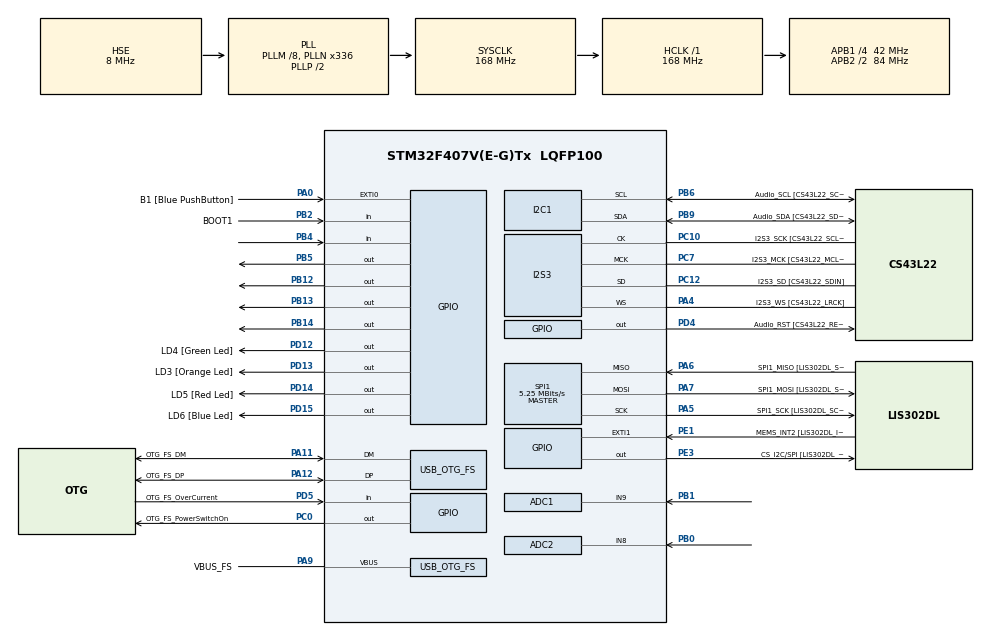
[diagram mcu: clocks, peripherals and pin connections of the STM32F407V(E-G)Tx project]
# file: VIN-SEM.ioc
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PA11.GPIO_Speed=GPIO_SPEED_FREQ_LOW
PD12.GPIO_Label=LD4 [Green Led]
PH0-OSC_IN.Signal=RCC_OSC_IN
PC10.GPIO_PuPd=GPIO_NOPULL
SPI1.VirtualType=VM_MASTER
PB10.GPIO_PuPd=GPIO_NOPULL
PA10.GPIO_PuPd=GPIO_NOPULL
PC12.Signal=I2S3_SD
PA14.GPIO_Label=SWCLK
PB6.GPIO_Label=Audio_SCL [CS43L22_SCL]
PA6.GPIO_Label=SPI1_MISO [LIS302DL_SDO]
PB13.Signal=GPIO_Output
PC15-OSC32_OUT.GPIO_Label=PC15-OSC32_OUT
PC3.GPIO_Speed=GPIO_SPEED_FREQ_LOW
RCC.SYSCLKSource=RCC_SYSCLKSOURCE_PLLCLK
PA6.GPIO_Mode=GPIO_MODE_AF_PP
PD14.GPIO_Speed=GPIO_SPEED_FREQ_LOW
PA4.Mode=Half_Duplex_Master
SPI1.Direction=SPI_DIRECTION_2LINES
I2S3.AudioFreq-Half_Duplex_Master=I2S_AUDIOFREQ_96K
PD4.Signal=GPIO_Output
RCC.APB2TimFreq_Value=168000000
PB6.Signal=I2C1_SCL
ADC1.Channel-2\#ChannelRegularConversion=ADC_CHANNEL_9
PC7.Signal=I2S3_MCK
PB6.Mode=I2C
SPI1.CalculateBaudRate=5.25 MBits/s
PC3.Signal=I2S2_SD
PE1.Signal=GPXTI1
PB2.Signal=GPIO_Input
I2S3.ErrorAudioFreq=-2.34 %
PA5.GPIO_PuPd=GPIO_NOPULL
I2S3.ErrorAudioFreq-Half_Duplex_Master=0.8 %
SH.ADCx_IN8.0=ADC2_IN8,IN8
PD5.GPIO_Mode=GPIO_MODE_INPUT
PD14.GPIO_PuPd=GPIO_NOPULL
PB2.GPIO_PuPd=GPIO_NOPULL
SPI1.CalculateBaudRate-Full_Duplex_Master=42.0 MBits/s
Mcu.Package=LQFP100
PB9.Signal=I2C1_SDA
PB1.Signal=ADCx_IN9
PD12.Signal=GPIO_Output
PB9.GPIO_PuPd=GPIO_NOPULL
PA10.Signal=USB_OTG_FS_ID
SH.ADCx_IN9.0=ADC1_IN9,IN9
RCC.APB2CLKDivider=RCC_HCLK_DIV2
RCC.APB1TimFreq_Value=84000000
PC12.GPIO_PuPd=GPIO_NOPULL
PA6.GPIO_Speed=GPIO_SPEED_FREQ_LOW
PA12.GPIO_PuPd=GPIO_NOPULL
PA4.GPIO_Label=I2S3_WS [CS43L22_LRCK]
PD15.Signal=GPIO_Output
PC0.PinState=GPIO_PIN_SET
PA5.Mode=Full_Duplex_Master
I2S3.FullDuplexMode=I2S_FULLDUPLEXMODE_DISABLE
PA9.GPIO_Label=VBUS_FS
PB6.GPIO_PuPd=GPIO_NOPULL
PA11.GPIO_Label=OTG_FS_DM
PE1.GPIO_PuPd=GPIO_NOPULL
PC0.Signal=GPIO_Output
RCC.APB1CLKDivider=RCC_HCLK_DIV4
PC14-OSC32_IN.Signal=RCC_OSC32_IN
PA0-WKUP.GPIO_ModeDefaultEXTI=GPIO_MODE_EVT_RISING
PA0-WKUP.GPIO_Label=B1 [Blue PushButton]
PA0-WKUP.Signal=GPXTI0
PC10.GPIO_Mode=GPIO_MODE_AF_PP
PB10.GPIO_Mode=GPIO_MODE_AF_PP
PA9.Signal=USB_OTG_FS_VBUS
I2S3.VirtualMode=I2S_MODE_MASTER
PC7.GPIO_PuPd=GPIO_NOPULL
PB10.Signal=I2S2_CK
PB14.Signal=GPIO_Output
PA5.Signal=SPI1_SCK
PC12.Mode=Half_Duplex_Master
PE1.GPIO_Label=MEMS_INT2 [LIS302DL_INT2]
PA7.GPIO_Speed=GPIO_SPEED_FREQ_LOW
PB2.GPIO_Mode=GPIO_MODE_INPUT
SPI1.Mode=SPI_MODE_MASTER
PD4.GPIO_Speed=GPIO_SPEED_FREQ_LOW
PE3.GPIO_PuPd=GPIO_NOPULL
PH1-OSC_OUT.GPIO_Label=PH1-OSC_OUT
PA13.Mode=Serial_Wire
ADC2.Resolution=ADC_RESOLUTION_10B
PC7.GPIO_Label=I2S3_MCK [CS43L22_MCLK]
PA4.Signal=I2S3_WS
PC12.GPIO_Mode=GPIO_MODE_AF_PP
PB5.Signal=GPIO_Output
ADC1.master=1
PA5.GPIO_Label=SPI1_SCK [LIS302DL_SCL/SPC]
ADC2.NbrOfConversionFlag=1
PE3.GPIO_Speed=GPIO_SPEED_FREQ_LOW
PC12.GPIO_Label=I2S3_SD [CS43L22_SDIN]
PA11.Signal=USB_OTG_FS_DM
ProjectManager.HeapSize=0x200
NVIC.PriorityGroup=NVIC_PRIORITYGROUP_0
PE3.Signal=GPIO_Output
PC3.GPIO_Label=PDM_OUT [MP45DT02_DOUT]
PA0-WKUP.GPIO_PuPd=GPIO_NOPULL
I2S3.Instance=SPI$Index
PB6.GPIO_Speed=GPIO_SPEED_FREQ_LOW
PB0.Signal=ADCx_IN8
SPI1.BaudRatePrescaler-Full_Duplex_Master=SPI_BAUDRATEPRESCALER_2
Mcu.Family=STM32F4
PC3.GPIO_Mode=GPIO_MODE_AF_PP
PA6.Mode=Full_Duplex_Master
USB_DEVICE.CLASS_NAME_FS=CDC
RCC.CortexFreq_Value=168000000
PB10.GPIO_Speed=GPIO_SPEED_FREQ_LOW
PB6.GPIO_Mode=GPIO_MODE_AF_OD
ADC1.ContinuousConvMode=DISABLE
ADC2.Channel-0\#ChannelRegularConversion=ADC_CHANNEL_8
PD15.GPIO_Speed=GPIO_SPEED_FREQ_LOW
PC10.Signal=I2S3_CK
PA7.GPIO_Mode=GPIO_MODE_AF_PP
PC0.GPIO_Label=OTG_FS_PowerSwitchOn
PA11.Mode=Device_Only
USB_DEVICE.VirtualMode-CDC_FS=Cdc
PC10.GPIO_Speed=GPIO_SPEED_FREQ_LOW
PA11.GPIO_PuPd=GPIO_NOPULL
ProjectManager.StackSize=0x400
SPI1.Mode-Full_Duplex_Master=SPI_MODE_MASTER
PD13.Signal=GPIO_Output
PA12.Signal=USB_OTG_FS_DP
RCC.HCLKFreq_Value=168000000
ADC1.Resolution=ADC_RESOLUTION_10B
RCC.AHBFreq_Value=168000000
PH0-OSC_IN.Mode=HSE-External-Oscillator
PH0-OSC_IN.GPIO_Label=PH0-OSC_IN
PA9.GPIO_Mode=GPIO_MODE_INPUT
RCC.HSE_VALUE=8000000
PA4.GPIO_PuPd=GPIO_NOPULL
PA4.GPIO_Speed=GPIO_SPEED_FREQ_LOW
PA6.GPIO_PuPd=GPIO_NOPULL
ADC1.Rank-2\#ChannelRegularConversion=1
PC14-OSC32_IN.Mode=LSE-External-Oscillator
PA14.Mode=Serial_Wire
PA10.GPIO_Label=OTG_FS_ID
PC7.GPIO_Mode=GPIO_MODE_AF_PP
PH1-OSC_OUT.Mode=HSE-External-Oscillator
PD13.GPIO_Label=LD3 [Orange Led]
PA6.Signal=SPI1_MISO
PD5.GPIO_Label=OTG_FS_OverCurrent
NVIC.OTG_FS_IRQn=true\:0\:0\:false\:false\:true\:true\:true
PD15.GPIO_PuPd=GPIO_NOPULL
USB_OTG_FS.VirtualMode=Device_Only
ADC2.SamplingTime-0\#ChannelRegularConversion=ADC_SAMPLETIME_3CYCLES
PA10.GPIO_Speed=GPIO_SPEED_FREQ_LOW
PB9.GPIO_Speed=GPIO_SPEED_FREQ_LOW
PC14-OSC32_IN.GPIO_Label=PC14-OSC32_IN
ADC2.Rank-0\#ChannelRegularConversion=1
PC0.GPIO_PuPd=GPIO_NOPULL
SPI1.BaudRatePrescaler=SPI_BAUDRATEPRESCALER_16
PA12.GPIO_Speed=GPIO_SPEED_FREQ_LOW
PB4.Signal=GPIO_Input
PB3.GPIO_Label=SWO
PC15-OSC32_OUT.Mode=LSE-External-Oscillator
PD12.GPIO_Speed=GPIO_SPEED_FREQ_LOW
PD15.GPIO_Label=LD6 [Blue Led]
PA7.Mode=Full_Duplex_Master
PB9.GPIO_Label=Audio_SDA [CS43L22_SDA]
PC10.GPIO_Label=I2S3_SCK [CS43L22_SCLK]
USB_DEVICE.VirtualModeFS=Cdc_FS
PC10.Mode=Half_Duplex_Master
PD5.Signal=GPIO_Input
PE1.GPIO_ModeDefaultEXTI=GPIO_MODE_EVT_RISING
PA9.GPIO_PuPd=GPIO_NOPULL
PA12.GPIO_Label=OTG_FS_DP
ADC1.SamplingTime-2\#ChannelRegularConversion=ADC_SAMPLETIME_3CYCLES
PA10.GPIO_Mode=GPIO_MODE_AF_PP
PA13.Signal=SYS_JTMS-SWDIO
PD4.GPIO_PuPd=GPIO_NOPULL
PA9.Mode=Activate_VBUS
PC0.GPIO_Speed=GPIO_SPEED_FREQ_LOW
I2S3.RealAudioFreq-Half_Duplex_Master=96.774 KHz
ProjectManager.TargetToolchain=STM32CubeIDE
PB10.GPIO_Label=CLK_IN [MP45DT02_CLK]
VP_USB_DEVICE_VS_USB_DEVICE_CDC_FS.Mode=CDC_FS
PB9.Mode=I2C
PC15-OSC32_OUT.Signal=RCC_OSC32_OUT
PA7.GPIO_PuPd=GPIO_NOPULL
board=STM32F407G-DISC1
PD13.GPIO_Speed=GPIO_SPEED_FREQ_LOW
PC7.GPIO_Speed=GPIO_SPEED_FREQ_LOW
RCC.VCOOutputFreq_Value=336000000
PB9.GPIO_Mode=GPIO_MODE_AF_OD
PA12.GPIO_Mode=GPIO_MODE_AF_PP
PA4.GPIO_Mode=GPIO_MODE_AF_PP
RCC.APB2Freq_Value=84000000
PD4.GPIO_Label=Audio_RST [CS43L22_RESET]
PH1-OSC_OUT.Signal=RCC_OSC_OUT
PD13.GPIO_PuPd=GPIO_NOPULL
PD5.GPIO_PuPd=GPIO_NOPULL
PD14.GPIO_Label=LD5 [Red Led]
ADC1.NbrOfConversion=1
Mcu.Name=STM32F407V(E-G)Tx
PA13.GPIO_Label=SWDIO
PD14.Signal=GPIO_Output
RCC.48MHZClocksFreq_Value=48000000
PB3.Signal=SYS_JTDO-SWO
RCC.SYSCLKFreq_VALUE=168000000
PA7.GPIO_Label=SPI1_MOSI [LIS302DL_SDA/SDI/SDO]
PA12.Mode=Device_Only
PA14.Signal=SYS_JTCK-SWCLK
PB2.GPIO_Label=BOOT1
RCC.HSI_VALUE=16000000
PA5.GPIO_Speed=GPIO_SPEED_FREQ_LOW
RCC.PLLQ=7
ADC1.NbrOfConversionFlag=1
I2S3.RealAudioFreq=93.75 KHz
RCC.PLLM=8
RCC.PLLN=336
PE3.GPIO_Label=CS_I2C/SPI [LIS302DL_CS_I2C/SPI]
PC7.Mode=Master_Clock_Activated
PA11.GPIO_Mode=GPIO_MODE_AF_PP
RCC.APB1Freq_Value=42000000
PA5.GPIO_Mode=GPIO_MODE_AF_PP
PC12.GPIO_Speed=GPIO_SPEED_FREQ_LOW
ADC1.ClockPrescaler=ADC_CLOCK_SYNC_PCLK_DIV4
PB12.Signal=GPIO_Output
PC3.GPIO_PuPd=GPIO_NOPULL
PD12.GPIO_PuPd=GPIO_NOPULL
PA7.Signal=SPI1_MOSI

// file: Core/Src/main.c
/* USER CODE BEGIN Header */
/**
  ******************************************************************************
  * @file           : main.c
  * @brief          : Main program body
  ******************************************************************************
  * @attention
  *
  * <h2><center>&copy; Copyright (c) 2021 STMicroelectronics.
  * All rights reserved.</center></h2>
  *
  * This software component is licensed by ST under Ultimate Liberty license
  * SLA0044, the "License"; You may not use this file except in compliance with
  * the License. You may obtain a copy of the License at:
  *                             www.st.com/SLA0044
  *
  ******************************************************************************
  */
/* USER CODE END Header */
#include "main.h"
#include "usb_device.h"

/* USER CODE BEGIN Includes */
#include <string.h>
#include <stdarg.h>
#include<time.h>
#include <math.h>
#include "ssd1351.h"
#include "fonts.h"
#include "testimg.h"
#include "snake_icon.h"
#include "pong_icon.h"
#include "queue.h"
/* USER CODE END Includes */

ADC_HandleTypeDef hadc1;
ADC_HandleTypeDef hadc2;

I2C_HandleTypeDef hi2c1;

I2S_HandleTypeDef hi2s3;

SPI_HandleTypeDef hspi1;

/* USER CODE BEGIN PV */

#define BUFSIZE 256
char send_buffer[BUFSIZE];
int counter;
int key_state = 0;

uint32_t prev = 0;
uint32_t current = 0;

// joystick settings
#define JS_MIN 0
#define JS_MAX 1023
#define JS_ZERO ((JS_MAX - JS_MIN) / 2)
#define JS_TOLERANCE 20

// view breakdown
#define HEADER_BOTTOM 16
#define FOOTER_TOP (127 - 16)

enum View{
	MENU,
	SNAKE,
	PONG
} curr_view;

// menu
#define ICON_WIDTH 32
#define ICON_HEIGHT 32
#define ICON_PADDING 8

int selected_icon_index = 0;

// snake
#define SN_UNIT 4
#define SN_ROOM_SIZE (128 / SN_UNIT)
#define SN_MIN_X 1
#define SN_MAX_X (SN_ROOM_SIZE - 2)
#define SN_MIN_Y ((HEADER_BOTTOM / SN_UNIT) + 1)
#define SN_MAX_Y ((FOOTER_TOP / SN_UNIT) - 1)
struct Queue* snake_body;

int snake_x = 0;
int snake_y = 0;
int direction = 1; // [0-3]

int fruit_x = 0;
int fruit_y = 0;

// pong
#define PG_UNIT 4
#define PG_ROOM_SIZE (128 / PG_UNIT)
#define PG_PADDLE_OFFSET 1
#define PG_PADDLE_LENGTH 5
#define PG_MIN_X 1
#define PG_MAX_X (PG_ROOM_SIZE - 2)
#define PG_MIN_Y ((HEADER_BOTTOM / PG_UNIT) + 1)
#define PG_MAX_Y ((FOOTER_TOP / PG_UNIT) - 1)

#define PG_SPEED 1

struct Ball {
	int x, y;
	float direction;
};
struct Ball* pg_ball;
int pg_paddle_player = 0;
int pg_paddle_bot = 0;
int pg_score = 0;

// TODO refactor joystick handler

/* USER CODE END PV */

void SystemClock_Config(void);
static void MX_GPIO_Init(void);
static void MX_I2C1_Init(void);
static void MX_I2S3_Init(void);
static void MX_SPI1_Init(void);
static void MX_ADC1_Init(void);
static void MX_ADC2_Init(void);
/* USER CODE BEGIN PFP */
static uint32_t readAnalog(void);
static uint32_t readAnalog2(void);
/* USER CODE END PFP */

/* USER CODE BEGIN 0 */
void init() {
    logSerial("Welcome to Gamelad v0.1!\r\n");
    SSD1351_Unselect();
    SSD1351_Init();
    SSD1351_FillScreen(SSD1351_BLACK);

    HAL_Delay(100);

    curr_view = MENU;

    initStartup();

    HAL_Delay(100);

    initHeader();

    HAL_Delay(100);

    logSerial("Init started!\r\n");

    switch(curr_view) {
    case MENU:
    	initMenu();
        logSerial("Init menu done\r\n");
    	break;
    case SNAKE:
    	initSnake();
        logSerial("Init snake done\r\n");
    	break;
    case PONG:
    	initPong();
        logSerial("Init pong done\r\n");
    	break;
    	snprintf(send_buffer, BUFSIZE, "Invalid view on init: %d\r\n", curr_view);
    	logSerial(send_buffer);
    }

    HAL_Delay(100);

    logSerial("Init done! :)\r\n");
}

void initStartup() { // TODO make pretty
    logSerial("Startup started!\r\n");
	SSD1351_WriteString(0, 0, "Gamelad v0.1", Font_16x26, SSD1351_COLOR565(255, 127, 0), SSD1351_BLACK);

    HAL_Delay(3000);

    SSD1351_FillScreen(SSD1351_BLACK);

    strokeRect(0, HEADER_BOTTOM, 127, FOOTER_TOP - HEADER_BOTTOM, SSD1351_WHITE);

    logSerial("Startup done!\r\n");
}

void initHeader() {
    SSD1351_WriteString(0, 0, "Gamelad v0.1", Font_7x10, SSD1351_COLOR565(255, 127, 0), SSD1351_BLACK);
}

void initMenu() { // TODO implement to allow break into two / three rows
	SSD1351_FillRectangle(1, HEADER_BOTTOM + 1, 127 - 2, FOOTER_TOP - HEADER_BOTTOM - 2, SSD1351_BLACK);

	SSD1351_FillRectangle(0, FOOTER_TOP, 127, 127, SSD1351_BLACK);

	SSD1351_DrawImage(ICON_PADDING, HEADER_BOTTOM + ICON_PADDING, 32, 32, (const uint16_t*)snake_icon);
	SSD1351_DrawImage(2 * ICON_PADDING + ICON_WIDTH, HEADER_BOTTOM + ICON_PADDING, 32, 32, (const uint16_t*)pong_icon);

	for(int i = 0; i < 6; i++) {
		int x = ((i % 3) + 1) * ICON_PADDING + (i % 3) * ICON_WIDTH;
		int y = ((i / 3) + 1 + (i / 3 > 0 ? 1 : 0)) * ICON_PADDING + (i / 3) * ICON_HEIGHT + HEADER_BOTTOM;
		strokeRect(x, y, ICON_WIDTH, ICON_HEIGHT, SSD1351_RED);
		if (selected_icon_index == i) {
			SSD1351_FillRectangle(x - 1, y - 1, ICON_WIDTH + 2, 2, SSD1351_BLUE);
			SSD1351_FillRectangle(x - 1, y + ICON_HEIGHT - 1, ICON_WIDTH + 2, 2, SSD1351_BLUE);

			SSD1351_FillRectangle(x - 1, y + 1, 2, ICON_HEIGHT, SSD1351_BLUE);
			SSD1351_FillRectangle(x + ICON_WIDTH - 1, y + 1, 2, ICON_HEIGHT, SSD1351_BLUE);
		}
	}

	char *name;
	switch(selected_icon_index) {
	case 0:
		name = "Snake";
		break;
	case 1:
		name = "Pong";
		break;
	default:
		name = "_";
	}

	snprintf(send_buffer, BUFSIZE, "Select game: %s", name);
    SSD1351_WriteString(0, FOOTER_TOP + 4, send_buffer, Font_7x10, SSD1351_WHITE, SSD1351_BLACK);
}

void initSnake() {
	SSD1351_FillRectangle(1, HEADER_BOTTOM + 1, 127 - 2, FOOTER_TOP - HEADER_BOTTOM - 2, SSD1351_BLACK);

	SSD1351_FillRectangle(0, FOOTER_TOP, 127, 127, SSD1351_BLACK);

	snake_x = 10;
	snake_y = 10;

	snake_body = createQueue(SN_ROOM_SIZE * SN_ROOM_SIZE);
	enqueue(snake_body, snake_x * SN_ROOM_SIZE + snake_y);

	renderBox(snake_x, snake_y, SSD1351_WHITE);

	fruit_x = rand() % SN_ROOM_SIZE;
	fruit_y = rand() % SN_ROOM_SIZE;

	renderBox(fruit_x, fruit_y, SSD1351_RED);

	snprintf(send_buffer, BUFSIZE, "Score: %d", size(snake_body));
    SSD1351_WriteString(0, FOOTER_TOP + 4, send_buffer, Font_7x10, SSD1351_WHITE, SSD1351_BLACK);
}

void initPong() {
	SSD1351_FillRectangle(1, HEADER_BOTTOM + 1, 127 - 2, FOOTER_TOP - HEADER_BOTTOM - 2, SSD1351_BLACK);

	SSD1351_FillRectangle(0, FOOTER_TOP, 127, 127, SSD1351_BLACK);

	pg_ball = (struct Ball*) malloc(sizeof(struct Ball));

	pg_ball->x = 10 * PG_UNIT;
	pg_ball->y = 10 * PG_UNIT;
	pg_ball->direction = 2 * M_PI / 3;

	pg_score = 0;

    SSD1351_WriteString(0, FOOTER_TOP + 4, "Score:", Font_7x10, SSD1351_WHITE, SSD1351_BLACK);
}

void strokeRect(uint16_t x, uint16_t y, uint16_t w, uint16_t h, uint16_t color) {
	for(int cx = x; cx < x + w; cx++) {
        SSD1351_DrawPixel(cx, y, color);
        SSD1351_DrawPixel(cx, y + h - 1, color);
    }

    for(int cy = y; cy < y + h; cy++) {
        SSD1351_DrawPixel(x, cy, color);
        SSD1351_DrawPixel(x + w - 1, cy, color);
    }
}

void logSerial(const char* message) {
	snprintf(send_buffer, BUFSIZE, message);
	CDC_Transmit_FS(send_buffer, strlen(send_buffer));
}

void loop() {
  switch(curr_view) {
  case MENU:
	menuLoop();
	break;
  case SNAKE:
	snakeLoop();
	break;
  case PONG:
	pongLoop();
	break;
	// TODO default handler - log error
  }
}

void snakeLoop() {
	uint32_t analogValue = readAnalog();
	uint32_t analogValue2 = readAnalog2();

	if (analogValue < JS_ZERO - JS_TOLERANCE && direction != 1)
	{
	  direction = 3;
	} else if (analogValue > JS_ZERO + JS_TOLERANCE && direction != 3)
	{
	  direction = 1;
	} else if (analogValue2 > JS_ZERO + JS_TOLERANCE && direction != 2)
	{
	  direction = 0;
	} else if (analogValue2 < JS_ZERO - JS_TOLERANCE && direction != 0)
	{
	  direction = 2;
	}

	if (direction == 0) {
	  snake_y -= 1;
	  if (snake_y < SN_MIN_Y) {
		  snake_y = SN_MAX_Y;
	  }
	} else if (direction == 1) {
	  snake_x += 1;
	  if (snake_x > SN_MAX_X) {
		  snake_x = SN_MIN_X;
	  }
	} else if (direction == 2) {
	  snake_y += 1;
	  if (snake_y > SN_MAX_Y) {
		  snake_y = SN_MIN_Y;
	  }
	} else if (direction == 3) {
	  snake_x -= 1;
	  if (snake_x < SN_MIN_X) {
		  snake_x = SN_MAX_X;
	  }
	}

	enqueue(snake_body, snake_x * SN_ROOM_SIZE + snake_y);

	renderBox(snake_x, snake_y, SSD1351_WHITE);

	if (snake_x == fruit_x && snake_y == fruit_y) {
	  fruit_x = rand() % (SN_MAX_X - SN_MIN_X) + SN_MIN_X;
	  fruit_y = rand() % (SN_MAX_Y - SN_MIN_Y) + SN_MIN_Y;

	  renderBox(fruit_x, fruit_y, SSD1351_RED);
	} else {
	  int idx = dequeue(snake_body);
	  int cx = idx / SN_ROOM_SIZE;
	  int cy = idx % SN_ROOM_SIZE;

	  renderBox(cx, cy, SSD1351_BLACK);
	}

	int hit_self = 0;
	int* snake_parts = elements(snake_body);
	for (int i = 0; i < size(snake_body) - 1; i++) {
		  int x = snake_parts[i] / SN_ROOM_SIZE;
		  int y = snake_parts[i] % SN_ROOM_SIZE;
		  if (snake_x == x && snake_y == y) {
			  hit_self = 1;
			  break;
		  }
	}

	if (hit_self == 1) {
		initSnake();
		// RESET SNAKE AND SCORE !!!!
	}

	snprintf(send_buffer, BUFSIZE, "Score: %d", size(snake_body));
	SSD1351_WriteString(0, FOOTER_TOP + 4, send_buffer, Font_7x10, SSD1351_WHITE, SSD1351_BLACK);
}

void pongLoop() {

	SSD1351_FillRectangle(pg_ball->x, pg_ball->y, PG_UNIT, PG_UNIT, SSD1351_BLACK);

	SSD1351_FillRectangle((PG_MIN_X + PG_PADDLE_OFFSET) * PG_UNIT, (pg_paddle_player + PG_MIN_Y) * PG_UNIT, PG_UNIT, PG_PADDLE_LENGTH * PG_UNIT, SSD1351_BLACK);
	SSD1351_FillRectangle((PG_MAX_X - PG_PADDLE_OFFSET) * PG_UNIT, (pg_paddle_bot + PG_MIN_Y) * PG_UNIT, PG_UNIT, PG_PADDLE_LENGTH * PG_UNIT, SSD1351_BLACK);

	int direction = 0;
	uint32_t analogValue2 = readAnalog2();
	if (analogValue2 > JS_ZERO + JS_TOLERANCE)
	{
	  direction = -1;
	} else if (analogValue2 < JS_ZERO - JS_TOLERANCE)
	{
	  direction = 1;
	}

	if ((direction < 0 && pg_paddle_player > 0) || (direction > 0 && pg_paddle_player < PG_MAX_Y - PG_MIN_Y - PG_PADDLE_LENGTH + 1)) {
		pg_paddle_player += direction;
	}

	pg_ball->x = pg_ball->x + (PG_SPEED * PG_UNIT) * cos(pg_ball->direction);
	pg_ball->y = pg_ball->y + (PG_SPEED * PG_UNIT) * sin(pg_ball->direction);

	if (pg_ball->y >= PG_MAX_Y * PG_UNIT) {
		pg_ball->direction *= -1;
		pg_ball->y--;
	} else if (pg_ball->y <= 17) {
		pg_ball->direction *= -1;
		pg_ball->y++;
	}

	int bot_diff = pg_ball->y - ((pg_paddle_bot + PG_MIN_Y + PG_PADDLE_LENGTH / 2) * PG_UNIT);

	int bot_direction = bot_diff / abs(bot_diff);

	if ((bot_direction < 0 && pg_paddle_bot > 0) || (bot_direction > 0 && pg_paddle_bot < PG_MAX_Y - PG_MIN_Y - PG_PADDLE_LENGTH + 1)) {
		pg_paddle_bot += bot_direction;
	}

	int state = 0; // 0 - game, -1 - bot won, 1 - player won

	if ((pg_ball->x <= (PG_MIN_X + PG_PADDLE_OFFSET + 2) * PG_UNIT) && (pg_ball->x <= (PG_MIN_X + PG_PADDLE_OFFSET + 1) * PG_UNIT)) {
		if ((pg_ball->y >= (pg_paddle_player + PG_MIN_Y) * PG_UNIT) && (pg_ball->y <= (pg_paddle_player + PG_MIN_Y + PG_PADDLE_LENGTH) * PG_UNIT)) {
			pg_ball->direction -= M_PI_2;
			pg_ball->x+= PG_UNIT;
		} else {
			state = -1;
		}
	} else if ((pg_ball->x >= (PG_MAX_X - PG_PADDLE_OFFSET - 2) * PG_UNIT) && (pg_ball->x >= (PG_MAX_X - PG_PADDLE_OFFSET - 1) * PG_UNIT)) {
		if ((pg_ball->y >= (pg_paddle_bot + PG_MIN_Y) * PG_UNIT) && (pg_ball->y <= (pg_paddle_bot + PG_MIN_Y + PG_PADDLE_LENGTH) * PG_UNIT)) {
			pg_ball->direction -= M_PI_2;
			pg_ball->x-= PG_UNIT;
		} else {
			state = 1;
		}
	}

	SSD1351_FillRectangle(pg_ball->x, pg_ball->y, PG_UNIT, PG_UNIT, SSD1351_WHITE);

	SSD1351_FillRectangle((PG_MIN_X + PG_PADDLE_OFFSET) * PG_UNIT, (pg_paddle_player + PG_MIN_Y) * PG_UNIT, PG_UNIT, PG_PADDLE_LENGTH * PG_UNIT, SSD1351_WHITE);
	SSD1351_FillRectangle((PG_MAX_X - PG_PADDLE_OFFSET) * PG_UNIT, (pg_paddle_bot + PG_MIN_Y) * PG_UNIT, PG_UNIT, PG_PADDLE_LENGTH * PG_UNIT, SSD1351_WHITE);

	if (state != 0) {
		pg_score += state;

		SSD1351_FillRectangle(pg_ball->x, pg_ball->y, PG_UNIT, PG_UNIT, SSD1351_BLACK);

		pg_ball->x = 10 * PG_UNIT;
		pg_ball->y = 10 * PG_UNIT;
		pg_ball->direction = 2 * M_PI / 3;
	}

	snprintf(send_buffer, BUFSIZE, "Score: %3d", pg_score);
	SSD1351_WriteString(0, FOOTER_TOP + 4, send_buffer, Font_7x10, SSD1351_WHITE, SSD1351_BLACK);
}

void menuLoop() {
	uint32_t analogValue = readAnalog();
	uint32_t analogValue2 = readAnalog2();

	int prev_selected_icon_index = selected_icon_index;
	int diff1 = abs(analogValue - JS_ZERO);
	int diff2 = abs(analogValue2 - JS_ZERO);
	if (diff1 > diff2) {
		if (analogValue < JS_ZERO - JS_TOLERANCE && (selected_icon_index % 3) > 0)
		{
			selected_icon_index--;
		} else if (analogValue > JS_ZERO + JS_TOLERANCE && (selected_icon_index % 3) < 2)
		{
			selected_icon_index++;
		}
	}
	if (prev_selected_icon_index == selected_icon_index) {
		if (analogValue2 > JS_ZERO + JS_TOLERANCE && (selected_icon_index / 3) > 0)
		{
			selected_icon_index -= 3;
		} else if (analogValue2 < JS_ZERO - JS_TOLERANCE && (selected_icon_index / 3) < 1)
		{
			selected_icon_index += 3;
		}
	}

	snprintf(send_buffer, BUFSIZE, "Icon index: %d -> %d \r\n", prev_selected_icon_index, selected_icon_index);
	logSerial(send_buffer);

	if(prev_selected_icon_index != selected_icon_index) {
		logSerial("Updating menu");
		// deselect prev
		int x = ((prev_selected_icon_index % 3) + 1) * ICON_PADDING + (prev_selected_icon_index % 3) * ICON_WIDTH;
		int y = ((prev_selected_icon_index / 3) + 1 + (prev_selected_icon_index / 3 > 0 ? 1 : 0)) * ICON_PADDING + (prev_selected_icon_index / 3) * ICON_HEIGHT + HEADER_BOTTOM;
		SSD1351_FillRectangle(x - 1, y - 1, ICON_WIDTH + 2, 2, SSD1351_BLACK);
		SSD1351_FillRectangle(x - 1, y + ICON_HEIGHT - 1, ICON_WIDTH + 2, 2, SSD1351_BLACK);

		SSD1351_FillRectangle(x - 1, y + 1, 2, ICON_HEIGHT, SSD1351_BLACK);
		SSD1351_FillRectangle(x + ICON_WIDTH - 1, y + 1, 2, ICON_HEIGHT, SSD1351_BLACK);

		strokeRect(x, y, ICON_WIDTH, ICON_HEIGHT, SSD1351_RED);

		// select curr
		x = ((selected_icon_index % 3) + 1) * ICON_PADDING + (selected_icon_index % 3) * ICON_WIDTH;
		y = ((selected_icon_index / 3) + 1 + (selected_icon_index / 3 > 0 ? 1 : 0)) * ICON_PADDING + (selected_icon_index / 3) * ICON_HEIGHT + HEADER_BOTTOM;
		SSD1351_FillRectangle(x - 1, y - 1, ICON_WIDTH + 2, 2, SSD1351_BLUE);
		SSD1351_FillRectangle(x - 1, y + ICON_HEIGHT - 1, ICON_WIDTH + 2, 2, SSD1351_BLUE);

		SSD1351_FillRectangle(x - 1, y + 1, 2, ICON_HEIGHT, SSD1351_BLUE);
		SSD1351_FillRectangle(x + ICON_WIDTH - 1, y + 1, 2, ICON_HEIGHT, SSD1351_BLUE);

		char *name;
		switch(selected_icon_index) {
		case 0:
			name = "Snake";
			break;
		case 1:
			name = "Pong";
			break;
		default:
			name = "_";
		}

		SSD1351_FillRectangle(0, FOOTER_TOP, 127, 127, SSD1351_BLACK);
		snprintf(send_buffer, BUFSIZE, "Select game: %s", name);
	    SSD1351_WriteString(0, FOOTER_TOP + 4, send_buffer, Font_7x10, SSD1351_WHITE, SSD1351_BLACK);
	}
}

void render() {
	switch(curr_view) {
	case MENU:
		renderMenu();
		break;
	case SNAKE:
		renderSnake();
		break;
	case PONG:
		renderPong();
		break;
	// TODO default handler - log error
	}
}

void renderMenu() {
	SSD1351_FillRectangle(pg_ball->x, pg_ball->y, pg_ball->x + PG_UNIT, pg_ball->y + PG_UNIT, SSD1351_WHITE);
}

void renderBox(int x, int y, uint16_t color)
{
	for(int i = x * SN_UNIT; i < x * SN_UNIT + SN_UNIT; i++) {
		for(int j = y * SN_UNIT; j < y * SN_UNIT + SN_UNIT; j++) {
			SSD1351_DrawPixel(i, j, color);
		}
	}
}

void renderSnake()
{
    int body_size = size(snake_body);
    int* body_elements = elements(snake_body);
    for(int i = 0; i < body_size; i++)
    {
    	int idx = body_elements[i];
    	int cx = idx / SN_ROOM_SIZE;
    	int cy = idx % SN_ROOM_SIZE;
    	SSD1351_FillRectangle(cx, cy, cx + SN_UNIT, cy + SN_UNIT, SSD1351_WHITE);
    }

	SSD1351_FillRectangle(fruit_x, fruit_y, fruit_x + SN_UNIT, fruit_y + SN_UNIT, SSD1351_RED);

}

void renderPong()
{
}

/* USER CODE END 0 */

int main(void)
{

  /* MCU Configuration--------------------------------------------------------*/

  /* Reset of all peripherals, Initializes the Flash interface and the Systick. */
  HAL_Init();

  /* Configure the system clock */
  SystemClock_Config();

  /* Initialize all configured peripherals */
  MX_GPIO_Init();
  MX_I2C1_Init();
  MX_I2S3_Init();
  MX_SPI1_Init();
  MX_USB_DEVICE_Init();
  MX_ADC1_Init();
  MX_ADC2_Init();

  /* Infinite loop */
  /* USER CODE BEGIN WHILE */
  init();
  while (1)
  {
	  loop();

	  // render();

	  if(HAL_GPIO_ReadPin(GPIOB, GPIO_PIN_4) == GPIO_PIN_SET) {
		  switch (curr_view)  {
		  case MENU:
			  switch(selected_icon_index) {
			  case 0:
				  curr_view = SNAKE;
				  initSnake();
				  break;
			  case 1:
				  curr_view = PONG;
				  initPong();
				  break;
			  default:
				  snprintf(send_buffer, BUFSIZE, "Uncategorized option '%d'\r\n", selected_icon_index);
				  logSerial(send_buffer);
				  break;
			  }
			  break;
		  case SNAKE:
		  case PONG:
			  curr_view = MENU;
			  initMenu();
			  break;
		  default:
			  break;
		  }
	  }

	  //snprintf(send_buffer, BUFSIZE, "Analog %d. X: %d, Y: %d \r\n", analogValue, snake_x, snake_y);
	  //CDC_Transmit_FS(send_buffer, strlen(send_buffer));

	  HAL_GPIO_TogglePin(GPIOD, GPIO_PIN_12);
	  HAL_GPIO_TogglePin(GPIOD, GPIO_PIN_13);
	  HAL_GPIO_TogglePin(GPIOD, GPIO_PIN_14);
	  HAL_GPIO_TogglePin(GPIOD, GPIO_PIN_15);

	  HAL_GPIO_TogglePin(GPIOB, GPIO_PIN_5); // External LED on PB5

	  key_state = HAL_GPIO_ReadPin(GPIOB, GPIO_PIN_4); // External Key on PB4

	  snprintf(send_buffer, BUFSIZE, "Hello World [%d]: Key: %d \r\n", counter++, key_state);
	  CDC_Transmit_FS(send_buffer, strlen(send_buffer));

    /* USER CODE END WHILE */

    /* USER CODE BEGIN 3 */
	  HAL_Delay(100);
  }
  /* USER CODE END 3 */
}

void SystemClock_Config(void)
{
  RCC_OscInitTypeDef RCC_OscInitStruct = {0};
  RCC_ClkInitTypeDef RCC_ClkInitStruct = {0};
  RCC_PeriphCLKInitTypeDef PeriphClkInitStruct = {0};

  /** Configure the main internal regulator output voltage
  */
  __HAL_RCC_PWR_CLK_ENABLE();
  __HAL_PWR_VOLTAGESCALING_CONFIG(PWR_REGULATOR_VOLTAGE_SCALE1);
  /** Initializes the RCC Oscillators according to the specified parameters
  * in the RCC_OscInitTypeDef structure.
  */
  RCC_OscInitStruct.OscillatorType = RCC_OSCILLATORTYPE_HSE;
  RCC_OscInitStruct.HSEState = RCC_HSE_ON;
  RCC_OscInitStruct.PLL.PLLState = RCC_PLL_ON;
  RCC_OscInitStruct.PLL.PLLSource = RCC_PLLSOURCE_HSE;
  RCC_OscInitStruct.PLL.PLLM = 8;
  RCC_OscInitStruct.PLL.PLLN = 336;
  RCC_OscInitStruct.PLL.PLLP = RCC_PLLP_DIV2;
  RCC_OscInitStruct.PLL.PLLQ = 7;
  if (HAL_RCC_OscConfig(&RCC_OscInitStruct) != HAL_OK)
  {
    Error_Handler();
  }
  /** Initializes the CPU, AHB and APB buses clocks
  */
  RCC_ClkInitStruct.ClockType = RCC_CLOCKTYPE_HCLK|RCC_CLOCKTYPE_SYSCLK
                              |RCC_CLOCKTYPE_PCLK1|RCC_CLOCKTYPE_PCLK2;
  RCC_ClkInitStruct.SYSCLKSource = RCC_SYSCLKSOURCE_PLLCLK;
  RCC_ClkInitStruct.AHBCLKDivider = RCC_SYSCLK_DIV1;
  RCC_ClkInitStruct.APB1CLKDivider = RCC_HCLK_DIV4;
  RCC_ClkInitStruct.APB2CLKDivider = RCC_HCLK_DIV2;

  if (HAL_RCC_ClockConfig(&RCC_ClkInitStruct, FLASH_LATENCY_5) != HAL_OK)
  {
    Error_Handler();
  }
  PeriphClkInitStruct.PeriphClockSelection = RCC_PERIPHCLK_I2S;
  PeriphClkInitStruct.PLLI2S.PLLI2SN = 192;
  PeriphClkInitStruct.PLLI2S.PLLI2SR = 2;
  if (HAL_RCCEx_PeriphCLKConfig(&PeriphClkInitStruct) != HAL_OK)
  {
    Error_Handler();
  }
}

static void MX_ADC1_Init(void)
{

  ADC_ChannelConfTypeDef sConfig = {0};

  /** Configure the global features of the ADC (Clock, Resolution, Data Alignment and number of conversion)
  */
  hadc1.Instance = ADC1;
  hadc1.Init.ClockPrescaler = ADC_CLOCK_SYNC_PCLK_DIV4;
  hadc1.Init.Resolution = ADC_RESOLUTION_10B;
  hadc1.Init.ScanConvMode = DISABLE;
  hadc1.Init.ContinuousConvMode = DISABLE;
  hadc1.Init.DiscontinuousConvMode = DISABLE;
  hadc1.Init.ExternalTrigConvEdge = ADC_EXTERNALTRIGCONVEDGE_NONE;
  hadc1.Init.ExternalTrigConv = ADC_SOFTWARE_START;
  hadc1.Init.DataAlign = ADC_DATAALIGN_RIGHT;
  hadc1.Init.NbrOfConversion = 1;
  hadc1.Init.DMAContinuousRequests = DISABLE;
  hadc1.Init.EOCSelection = ADC_EOC_SINGLE_CONV;
  if (HAL_ADC_Init(&hadc1) != HAL_OK)
  {
    Error_Handler();
  }
  /** Configure for the selected ADC regular channel its corresponding rank in the sequencer and its sample time.
  */
  sConfig.Channel = ADC_CHANNEL_9;
  sConfig.Rank = 1;
  sConfig.SamplingTime = ADC_SAMPLETIME_3CYCLES;
  if (HAL_ADC_ConfigChannel(&hadc1, &sConfig) != HAL_OK)
  {
    Error_Handler();
  }

}

static void MX_ADC2_Init(void)
{

  ADC_ChannelConfTypeDef sConfig = {0};

  /** Configure the global features of the ADC (Clock, Resolution, Data Alignment and number of conversion)
  */
  hadc2.Instance = ADC2;
  hadc2.Init.ClockPrescaler = ADC_CLOCK_SYNC_PCLK_DIV4;
  hadc2.Init.Resolution = ADC_RESOLUTION_10B;
  hadc2.Init.ScanConvMode = DISABLE;
  hadc2.Init.ContinuousConvMode = DISABLE;
  hadc2.Init.DiscontinuousConvMode = DISABLE;
  hadc2.Init.ExternalTrigConvEdge = ADC_EXTERNALTRIGCONVEDGE_NONE;
  hadc2.Init.ExternalTrigConv = ADC_SOFTWARE_START;
  hadc2.Init.DataAlign = ADC_DATAALIGN_RIGHT;
  hadc2.Init.NbrOfConversion = 1;
  hadc2.Init.DMAContinuousRequests = DISABLE;
  hadc2.Init.EOCSelection = ADC_EOC_SINGLE_CONV;
  if (HAL_ADC_Init(&hadc2) != HAL_OK)
  {
    Error_Handler();
  }
  /** Configure for the selected ADC regular channel its corresponding rank in the sequencer and its sample time.
  */
  sConfig.Channel = ADC_CHANNEL_8;
  sConfig.Rank = 1;
  sConfig.SamplingTime = ADC_SAMPLETIME_3CYCLES;
  if (HAL_ADC_ConfigChannel(&hadc2, &sConfig) != HAL_OK)
  {
    Error_Handler();
  }

}

static void MX_I2C1_Init(void)
{

  hi2c1.Instance = I2C1;
  hi2c1.Init.ClockSpeed = 100000;
  hi2c1.Init.DutyCycle = I2C_DUTYCYCLE_2;
  hi2c1.Init.OwnAddress1 = 0;
  hi2c1.Init.AddressingMode = I2C_ADDRESSINGMODE_7BIT;
  hi2c1.Init.DualAddressMode = I2C_DUALADDRESS_DISABLE;
  hi2c1.Init.OwnAddress2 = 0;
  hi2c1.Init.GeneralCallMode = I2C_GENERALCALL_DISABLE;
  hi2c1.Init.NoStretchMode = I2C_NOSTRETCH_DISABLE;
  if (HAL_I2C_Init(&hi2c1) != HAL_OK)
  {
    Error_Handler();
  }

}

static void MX_I2S3_Init(void)
{

  hi2s3.Instance = SPI3;
  hi2s3.Init.Mode = I2S_MODE_MASTER_TX;
  hi2s3.Init.Standard = I2S_STANDARD_PHILIPS;
  hi2s3.Init.DataFormat = I2S_DATAFORMAT_16B;
  hi2s3.Init.MCLKOutput = I2S_MCLKOUTPUT_ENABLE;
  hi2s3.Init.AudioFreq = I2S_AUDIOFREQ_96K;
  hi2s3.Init.CPOL = I2S_CPOL_LOW;
  hi2s3.Init.ClockSource = I2S_CLOCK_PLL;
  hi2s3.Init.FullDuplexMode = I2S_FULLDUPLEXMODE_DISABLE;
  if (HAL_I2S_Init(&hi2s3) != HAL_OK)
  {
    Error_Handler();
  }

}

static void MX_SPI1_Init(void)
{

  /* SPI1 parameter configuration*/
  hspi1.Instance = SPI1;
  hspi1.Init.Mode = SPI_MODE_MASTER;
  hspi1.Init.Direction = SPI_DIRECTION_2LINES;
  hspi1.Init.DataSize = SPI_DATASIZE_8BIT;
  hspi1.Init.CLKPolarity = SPI_POLARITY_LOW;
  hspi1.Init.CLKPhase = SPI_PHASE_1EDGE;
  hspi1.Init.NSS = SPI_NSS_SOFT;
  hspi1.Init.BaudRatePrescaler = SPI_BAUDRATEPRESCALER_16;
  hspi1.Init.FirstBit = SPI_FIRSTBIT_MSB;
  hspi1.Init.TIMode = SPI_TIMODE_DISABLE;
  hspi1.Init.CRCCalculation = SPI_CRCCALCULATION_DISABLE;
  hspi1.Init.CRCPolynomial = 10;
  if (HAL_SPI_Init(&hspi1) != HAL_OK)
  {
    Error_Handler();
  }

}

static void MX_GPIO_Init(void)
{
  GPIO_InitTypeDef GPIO_InitStruct = {0};

  /* GPIO Ports Clock Enable */
  __HAL_RCC_GPIOE_CLK_ENABLE();
  __HAL_RCC_GPIOC_CLK_ENABLE();
  __HAL_RCC_GPIOH_CLK_ENABLE();
  __HAL_RCC_GPIOA_CLK_ENABLE();
  __HAL_RCC_GPIOB_CLK_ENABLE();
  __HAL_RCC_GPIOD_CLK_ENABLE();

  /*Configure GPIO pin Output Level */
  HAL_GPIO_WritePin(CS_I2C_SPI_GPIO_Port, CS_I2C_SPI_Pin, GPIO_PIN_RESET);

  /*Configure GPIO pin Output Level */
  HAL_GPIO_WritePin(OTG_FS_PowerSwitchOn_GPIO_Port, OTG_FS_PowerSwitchOn_Pin, GPIO_PIN_SET);

  /*Configure GPIO pin Output Level */
  HAL_GPIO_WritePin(GPIOB, GPIO_PIN_12|GPIO_PIN_13|GPIO_PIN_14|GPIO_PIN_5, GPIO_PIN_RESET);

  /*Configure GPIO pin Output Level */
  HAL_GPIO_WritePin(GPIOD, LD4_Pin|LD3_Pin|LD5_Pin|LD6_Pin
                          |Audio_RST_Pin, GPIO_PIN_RESET);

  /*Configure GPIO pin : CS_I2C_SPI_Pin */
  GPIO_InitStruct.Pin = CS_I2C_SPI_Pin;
  GPIO_InitStruct.Mode = GPIO_MODE_OUTPUT_PP;
  GPIO_InitStruct.Pull = GPIO_NOPULL;
  GPIO_InitStruct.Speed = GPIO_SPEED_FREQ_LOW;
  HAL_GPIO_Init(CS_I2C_SPI_GPIO_Port, &GPIO_InitStruct);

  /*Configure GPIO pin : OTG_FS_PowerSwitchOn_Pin */
  GPIO_InitStruct.Pin = OTG_FS_PowerSwitchOn_Pin;
  GPIO_InitStruct.Mode = GPIO_MODE_OUTPUT_PP;
  GPIO_InitStruct.Pull = GPIO_NOPULL;
  GPIO_InitStruct.Speed = GPIO_SPEED_FREQ_LOW;
  HAL_GPIO_Init(OTG_FS_PowerSwitchOn_GPIO_Port, &GPIO_InitStruct);

  /*Configure GPIO pin : PDM_OUT_Pin */
  GPIO_InitStruct.Pin = PDM_OUT_Pin;
  GPIO_InitStruct.Mode = GPIO_MODE_AF_PP;
  GPIO_InitStruct.Pull = GPIO_NOPULL;
  GPIO_InitStruct.Speed = GPIO_SPEED_FREQ_LOW;
  GPIO_InitStruct.Alternate = GPIO_AF5_SPI2;
  HAL_GPIO_Init(PDM_OUT_GPIO_Port, &GPIO_InitStruct);

  /*Configure GPIO pin : B1_Pin */
  GPIO_InitStruct.Pin = B1_Pin;
  GPIO_InitStruct.Mode = GPIO_MODE_EVT_RISING;
  GPIO_InitStruct.Pull = GPIO_NOPULL;
  HAL_GPIO_Init(B1_GPIO_Port, &GPIO_InitStruct);

  /*Configure GPIO pins : BOOT1_Pin PB4 */
  GPIO_InitStruct.Pin = BOOT1_Pin|GPIO_PIN_4;
  GPIO_InitStruct.Mode = GPIO_MODE_INPUT;
  GPIO_InitStruct.Pull = GPIO_NOPULL;
  HAL_GPIO_Init(GPIOB, &GPIO_InitStruct);

  /*Configure GPIO pin : CLK_IN_Pin */
  GPIO_InitStruct.Pin = CLK_IN_Pin;
  GPIO_InitStruct.Mode = GPIO_MODE_AF_PP;
  GPIO_InitStruct.Pull = GPIO_NOPULL;
  GPIO_InitStruct.Speed = GPIO_SPEED_FREQ_LOW;
  GPIO_InitStruct.Alternate = GPIO_AF5_SPI2;
  HAL_GPIO_Init(CLK_IN_GPIO_Port, &GPIO_InitStruct);

  /*Configure GPIO pins : PB12 PB13 PB14 PB5 */
  GPIO_InitStruct.Pin = GPIO_PIN_12|GPIO_PIN_13|GPIO_PIN_14|GPIO_PIN_5;
  GPIO_InitStruct.Mode = GPIO_MODE_OUTPUT_PP;
  GPIO_InitStruct.Pull = GPIO_NOPULL;
  GPIO_InitStruct.Speed = GPIO_SPEED_FREQ_LOW;
  HAL_GPIO_Init(GPIOB, &GPIO_InitStruct);

  /*Configure GPIO pins : LD4_Pin LD3_Pin LD5_Pin LD6_Pin
                           Audio_RST_Pin */
  GPIO_InitStruct.Pin = LD4_Pin|LD3_Pin|LD5_Pin|LD6_Pin
                          |Audio_RST_Pin;
  GPIO_InitStruct.Mode = GPIO_MODE_OUTPUT_PP;
  GPIO_InitStruct.Pull = GPIO_NOPULL;
  GPIO_InitStruct.Speed = GPIO_SPEED_FREQ_LOW;
  HAL_GPIO_Init(GPIOD, &GPIO_InitStruct);

  /*Configure GPIO pin : OTG_FS_OverCurrent_Pin */
  GPIO_InitStruct.Pin = OTG_FS_OverCurrent_Pin;
  GPIO_InitStruct.Mode = GPIO_MODE_INPUT;
  GPIO_InitStruct.Pull = GPIO_NOPULL;
  HAL_GPIO_Init(OTG_FS_OverCurrent_GPIO_Port, &GPIO_InitStruct);

  /*Configure GPIO pin : MEMS_INT2_Pin */
  GPIO_InitStruct.Pin = MEMS_INT2_Pin;
  GPIO_InitStruct.Mode = GPIO_MODE_EVT_RISING;
  GPIO_InitStruct.Pull = GPIO_NOPULL;
  HAL_GPIO_Init(MEMS_INT2_GPIO_Port, &GPIO_InitStruct);

}

/* USER CODE BEGIN 4 */
static uint32_t readAnalog(void)
{
	// Start ADC Conversion
	  HAL_ADC_Start(&hadc1);
	  // Poll ADC1 Perihperal & TimeOut = 1mSec
	  HAL_ADC_PollForConversion(&hadc1, HAL_MAX_DELAY);
	  // Read The ADC Conversion Result & Map It To PWM DutyCycle
	  uint32_t value = HAL_ADC_GetValue(&hadc1);
	  // TIM2->CCR1 = (AD_RES<<4);
	  HAL_Delay(1);

	  return value;
}

static uint32_t readAnalog2(void)
{
	// Start ADC Conversion
	  HAL_ADC_Start(&hadc2);
	  // Poll ADC1 Perihperal & TimeOut = 1mSec
	  HAL_ADC_PollForConversion(&hadc2, HAL_MAX_DELAY);
	  // Read The ADC Conversion Result & Map It To PWM DutyCycle
	  uint32_t value = HAL_ADC_GetValue(&hadc2);
	  // TIM2->CCR1 = (AD_RES<<4);
	  HAL_Delay(1);

	  return value;
}
/* USER CODE END 4 */

void Error_Handler(void)
{
  __disable_irq();
  while (1)
  {
  }
}

/************************ (C) COPYRIGHT STMicroelectronics *****END OF FILE****/
